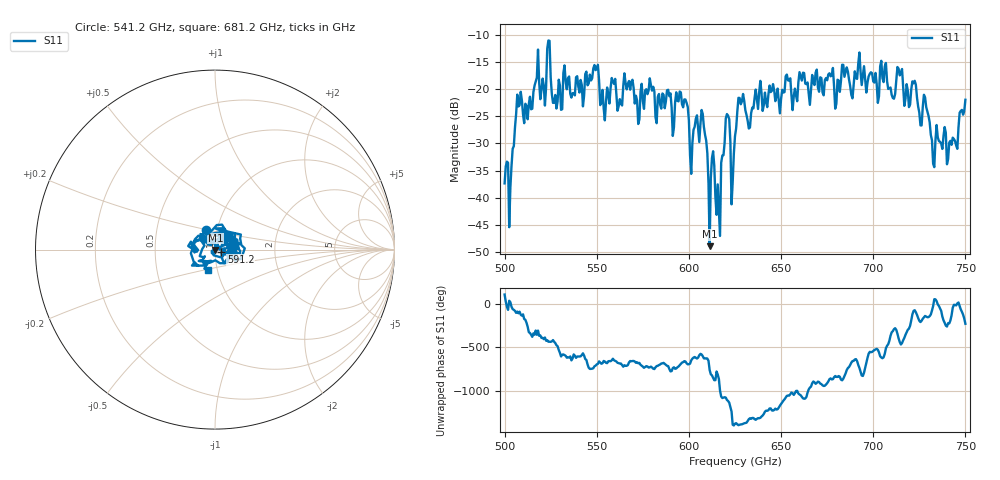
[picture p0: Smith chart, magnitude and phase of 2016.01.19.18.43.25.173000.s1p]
!Created with skrf (http://scikit-rf.org).
# GHz S RI R 50.0
!freq ReS11 ImS11
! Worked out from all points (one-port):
!   401 points, 500 GHz to 750 GHz, reference 50 ohm
!   lowest |S11| = -48.9 dB at 611.2 GHz (marker M1), VSWR 1.01, Z = 50.3 - j0.239 ohm
!   |S11| at or under -10 dB: start of sweep to end of sweep
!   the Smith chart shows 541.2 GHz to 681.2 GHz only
!   S11 on the Smith chart (normalised r, x): 541.2 GHz: 0.88, +0.20; 591.2 GHz: 1.07, -0.03; 681.2 GHz: 0.90, -0.21
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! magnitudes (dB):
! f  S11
! 500 GHz  -37.4
! 503.8 GHz  -34.2
! 508.1 GHz  -23.0
! 523.8 GHz  -11.1
! 526.9 GHz  -22.5
! 531.2 GHz  -23.7
! 541.2 GHz  -18.3
! 549.4 GHz  -16.5
! 553.1 GHz  -20.2
! 562.5 GHz  -21.9
! 591.2 GHz  -28.6
! 593.8 GHz  -22.2
! 601.9 GHz  -30.0
! 607.5 GHz  -24.6
! 611.2 GHz  -48.9
! 615.6 GHz  -37.6
! 620.6 GHz  -24.6
! 623.8 GHz  -37.1
! 625 GHz  -28.7
! 628.1 GHz  -22.8
! 656.2 GHz  -23.9
! 681.2 GHz  -18.4
! 687.5 GHz  -19.5
! 714.4 GHz  -17.5
! 718.8 GHz  -20.3
! 728.8 GHz  -23.3
! 732.5 GHz  -33.8
! 750 GHz  -22.0
